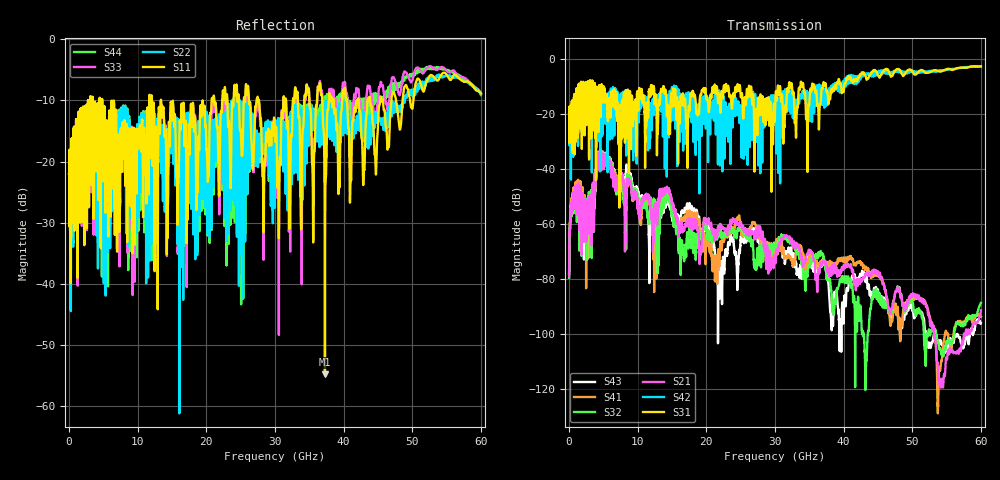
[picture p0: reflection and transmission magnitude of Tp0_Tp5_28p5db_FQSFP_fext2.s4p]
!4 port subset of full cascaded channels using these ports:3 37 4 38
# Hz S RI R 50
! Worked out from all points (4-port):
!   6000 points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, 10 MHz to 60 GHz, reference 50 ohm
!   strongest paths, dB at 10 MHz, 15.01 GHz, 30.01 GHz, 45.01 GHz, 60 GHz:
!     S31: -20.0, -17.5, -18.4, -6.1, -2.7
!     S42: -20.0, -10.7, -13.8, -5.2, -2.7
!     S21: -79.1, -51.9, -72.9, -77.4, -91.4
!     S32: -79.5, -55.5, -68.8, -84.7, -88.7
!     S41: -77.7, -54.1, -71.3, -78.0, -93.7
!     S43: -78.2, -56.6, -70.7, -83.9, -96.0
!   lowest |S11| = -54.9 dB at 37.28 GHz (marker M1), VSWR 1.00, Z = 50 - j0.178 ohm
!   |S11| at or under -10 dB: 4.824 GHz to 11.67 GHz (6.848 GHz wide, 83 % of centre); 13.4 GHz to 19.46 GHz (6.058 GHz wide, 36.9 % of centre); 27.67 GHz to 31.22 GHz (3.556 GHz wide, 12.1 % of centre)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
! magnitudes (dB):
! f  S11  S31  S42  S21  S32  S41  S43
! 10 MHz  -21.9  -20.0  -20.0  -79.1  -79.5  -77.7  -78.2
! 4.4 GHz  -11.2  -9.5  -12.6  -39.7  -38.6  -39.1  -38.0
! 12.56 GHz  -14.4  -13.2  -14.3  -56.4  -53.4  -72.9  -54.7
! 16.5 GHz  -12.8  -15.1  -13.7  -62.4  -67.6  -57.8  -55.4
! 21.96 GHz  -19.1  -14.8  -16.9  -60.6  -63.8  -70.6  -87.2
! 37.28 GHz  -54.9  -9.4  -13.3  -74.6  -75.0  -73.6  -75.3
! 60 GHz  -8.8  -2.7  -2.7  -91.4  -88.7  -93.7  -96.0
